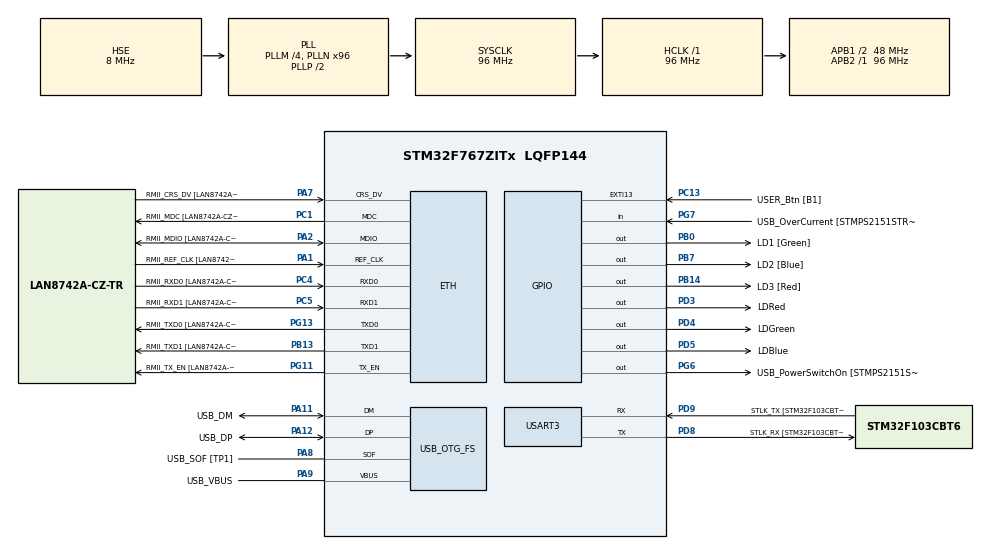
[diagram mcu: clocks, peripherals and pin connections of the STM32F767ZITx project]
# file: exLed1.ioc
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ETH.MediaInterface=ETH_MEDIA_INTERFACE_RMII
ETH.PHY_Name=LAN8742A_PHY_ADDRESS
ETH.PHY_Value=0
ETH.PhyAddress=0
Mcu.Family=STM32F7
Mcu.Name=STM32F767ZITx
Mcu.Package=LQFP144
NVIC.PriorityGroup=NVIC_PRIORITYGROUP_4
NVIC.USART3_IRQn=true\:0\:0\:false\:false\:true\:true\:true
PA1.GPIO_Label=RMII_REF_CLK [LAN8742A-CZ-TR_REFCLK0]
PA1.Mode=RMII
PA1.Signal=ETH_REF_CLK
PA10.GPIO_Label=USB_ID
PA10.Signal=USB_OTG_FS_ID
PA11.GPIO_Label=USB_DM
PA11.Mode=Device_Only
PA11.Signal=USB_OTG_FS_DM
PA12.GPIO_Label=USB_DP
PA12.Mode=Device_Only
PA12.Signal=USB_OTG_FS_DP
PA13.GPIO_Label=TMS
PA13.Mode=Serial_Wire
PA13.Signal=SYS_JTMS-SWDIO
PA14.GPIO_Label=TCK
PA14.Mode=Serial_Wire
PA14.Signal=SYS_JTCK-SWCLK
PA2.GPIO_Label=RMII_MDIO [LAN8742A-CZ-TR_MDIO]
PA2.Mode=RMII
PA2.Signal=ETH_MDIO
PA7.GPIO_Label=RMII_CRS_DV [LAN8742A-CZ-TR_CRS_DV]
PA7.Mode=RMII
PA7.Signal=ETH_CRS_DV
PA8.GPIO_Label=USB_SOF [TP1]
PA8.Mode=Activate_SOF_FS
PA8.Signal=USB_OTG_FS_SOF
PA9.GPIO_Label=USB_VBUS
PA9.Mode=Activate_VBUS
PA9.Signal=USB_OTG_FS_VBUS
PB0.GPIO_Label=LD1 [Green]
PB0.Signal=GPIO_Output
PB13.GPIO_Label=RMII_TXD1 [LAN8742A-CZ-TR_TXD1]
PB13.Mode=RMII
PB13.Signal=ETH_TXD1
PB14.GPIO_Label=LD3 [Red]
PB14.Signal=GPIO_Output
PB3.GPIO_Label=SWO
PB3.Signal=SYS_JTDO-SWO
PB7.GPIO_Label=LD2 [Blue]
PB7.Signal=GPIO_Output
PC1.GPIO_Label=RMII_MDC [LAN8742A-CZ-TR_MDC]
PC1.Mode=RMII
PC1.Signal=ETH_MDC
PC13.GPIO_Label=USER_Btn [B1]
PC13.Signal=GPXTI13
PC14/OSC32_IN.Mode=LSE-External-Oscillator
PC14/OSC32_IN.Signal=RCC_OSC32_IN
PC15/OSC32_OUT.Mode=LSE-External-Oscillator
PC15/OSC32_OUT.Signal=RCC_OSC32_OUT
PC4.GPIO_Label=RMII_RXD0 [LAN8742A-CZ-TR_RXD0]
PC4.Mode=RMII
PC4.Signal=ETH_RXD0
PC5.GPIO_Label=RMII_RXD1 [LAN8742A-CZ-TR_RXD1]
PC5.Mode=RMII
PC5.Signal=ETH_RXD1
PD3.GPIO_Label=LDRed
PD3.Signal=GPIO_Output
PD4.GPIO_Label=LDGreen
PD4.Signal=GPIO_Output
PD5.GPIO_Label=LDBlue
PD5.Signal=GPIO_Output
PD8.GPIO_Label=STLK_RX [STM32F103CBT6_PA3]
PD8.Mode=Asynchronous
PD8.Signal=USART3_TX
PD9.GPIO_Label=STLK_TX [STM32F103CBT6_PA2]
PD9.Mode=Asynchronous
PD9.Signal=USART3_RX
PG11.GPIO_Label=RMII_TX_EN [LAN8742A-CZ-TR_TXEN]
PG11.Mode=RMII
PG11.Signal=ETH_TX_EN
PG13.GPIO_Label=RMII_TXD0 [LAN8742A-CZ-TR_TXD0]
PG13.Mode=RMII
PG13.Signal=ETH_TXD0
PG6.GPIO_Label=USB_PowerSwitchOn [STMPS2151STR_EN]
PG6.Signal=GPIO_Output
PG7.GPIO_Label=USB_OverCurrent [STMPS2151STR_FAULT]
PG7.Signal=GPIO_Input
PH0/OSC_IN.GPIO_Label=MCO [STM32F103CBT6_PA8]
PH0/OSC_IN.Mode=HSE-External-Clock-Source
PH0/OSC_IN.Signal=RCC_OSC_IN
PH1/OSC_OUT.Mode=HSE-External-Clock-Source
PH1/OSC_OUT.Signal=RCC_OSC_OUT
ProjectManager.HeapSize=0x200
ProjectManager.StackSize=0x400
ProjectManager.TargetToolchain=STM32CubeIDE
RCC.48MHZClocksFreq_Value=24000000
RCC.AHBFreq_Value=96000000
RCC.APB1CLKDivider=RCC_HCLK_DIV2
RCC.APB1Freq_Value=48000000
RCC.APB1TimFreq_Value=96000000
RCC.APB2Freq_Value=96000000
RCC.APB2TimFreq_Value=96000000
RCC.CortexFreq_Value=96000000
RCC.HCLKFreq_Value=96000000
RCC.HSE_VALUE=8000000
RCC.HSI_VALUE=16000000
RCC.PLLM=4
RCC.PLLMUL=RCC_PLL_MUL9
RCC.PLLN=96
RCC.PLLQ=4
RCC.PRESCALERUSB=RCC_USBCLKSOURCE_PLL_DIV1_5
RCC.SYSCLKFreq_VALUE=96000000
RCC.SYSCLKSource=RCC_SYSCLKSOURCE_PLLCLK
RCC.SYSCLKSourceVirtual=RCC_SYSCLKSOURCE_PLLCLK
RCC.USBFreq_Value=48000000
RCC.VCOOutputFreq_Value=192000000
USART3.VirtualMode-Asynchronous=VM_ASYNC
USB_OTG_FS.VirtualMode=Device_Only
board=NUCLEO-F767ZI

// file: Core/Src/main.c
/* USER CODE BEGIN Header */
/**
  ******************************************************************************
  * @file           : main.c
  * @brief          : Main program body
  ******************************************************************************
  * @attention
  *
  * <h2><center>&copy; Copyright (c) 2021 STMicroelectronics.
  * All rights reserved.</center></h2>
  *
  * This software component is licensed by ST under BSD 3-Clause license,
  * the "License"; You may not use this file except in compliance with the
  * License. You may obtain a copy of the License at:
  *                        opensource.org/licenses/BSD-3-Clause
  *
  ******************************************************************************
  */
/* USER CODE END Header */
#include "main.h"

/* USER CODE BEGIN Includes */
#include "appMain.h"

#include "pif_log.h"

/* USER CODE END Includes */

UART_HandleTypeDef huart3;

PCD_HandleTypeDef hpcd_USB_OTG_FS;

/* USER CODE BEGIN PV */
static uint16_t s_usLogTx;

/* USER CODE END PV */

void SystemClock_Config(void);
static void MX_GPIO_Init(void);
static void MX_USART3_UART_Init(void);
static void MX_USB_OTG_FS_PCD_Init(void);

/* USER CODE BEGIN 0 */
BOOL actLogStartTransfer()
{
	uint8_t *pucData, ucState;

	s_usLogTx = 0;
	ucState = pifComm_StartSendDatas(g_pstCommLog, &pucData, &s_usLogTx);
	if (ucState & PIF_COMM_SEND_DATA_STATE_DATA) {
		HAL_UART_Transmit_IT(&huart3, pucData, s_usLogTx);
		return TRUE;
	}
	return FALSE;
}

void HAL_UART_TxCpltCallback(UART_HandleTypeDef *huart)
{
	uint8_t *pucData, ucState;

  if (huart->Instance == USART3) {
		ucState = pifComm_EndSendDatas(g_pstCommLog, s_usLogTx);
		if (ucState & PIF_COMM_SEND_DATA_STATE_EMPTY) {
			pifComm_FinishTransfer(g_pstCommLog);
		}
		else {
			s_usLogTx = 0;
			ucState = pifComm_StartSendDatas(g_pstCommLog, &pucData, &s_usLogTx);
			if (ucState & PIF_COMM_SEND_DATA_STATE_DATA) {
				HAL_UART_Transmit_IT(huart, pucData, s_usLogTx);
			}
		}
	}
}

void actLedLState(PifId usPifId, uint32_t unState)
{
	(void)usPifId;

	HAL_GPIO_WritePin(GPIOB, LD2_Pin, unState & 1);
}

void actLedRGBState(PifId usPifId, uint32_t unState)
{
  (void)usPifId;

  HAL_GPIO_WritePin(GPIOD, LDRed_Pin, unState & 1);
  HAL_GPIO_WritePin(GPIOD, LDGreen_Pin, (unState >> 1) & 1);
  HAL_GPIO_WritePin(GPIOD, LDBlue_Pin, (unState >> 2) & 1);
  pifLog_Printf(LT_INFO, "RGB:%u S:%xh", __LINE__, unState);
}

/* USER CODE END 0 */

int main(void)
{

  /* MCU Configuration--------------------------------------------------------*/

  /* Reset of all peripherals, Initializes the Flash interface and the Systick. */
  HAL_Init();

  /* Configure the system clock */
  SystemClock_Config();

  /* Initialize all configured peripherals */
  MX_GPIO_Init();
  MX_USART3_UART_Init();
  MX_USB_OTG_FS_PCD_Init();
  /* USER CODE BEGIN 2 */
  appSetup();

  /* USER CODE END 2 */

  /* Infinite loop */
  /* USER CODE BEGIN WHILE */
  while (1)
  {
    pif_Loop();

    pifTaskManager_Loop();
    /* USER CODE END WHILE */

  }
}

void SystemClock_Config(void)
{
  RCC_OscInitTypeDef RCC_OscInitStruct = {0};
  RCC_ClkInitTypeDef RCC_ClkInitStruct = {0};
  RCC_PeriphCLKInitTypeDef PeriphClkInitStruct = {0};

  /** Configure LSE Drive Capability
  */
  HAL_PWR_EnableBkUpAccess();
  /** Configure the main internal regulator output voltage
  */
  __HAL_RCC_PWR_CLK_ENABLE();
  __HAL_PWR_VOLTAGESCALING_CONFIG(PWR_REGULATOR_VOLTAGE_SCALE3);
  /** Initializes the RCC Oscillators according to the specified parameters
  * in the RCC_OscInitTypeDef structure.
  */
  RCC_OscInitStruct.OscillatorType = RCC_OSCILLATORTYPE_HSE;
  RCC_OscInitStruct.HSEState = RCC_HSE_BYPASS;
  RCC_OscInitStruct.PLL.PLLState = RCC_PLL_ON;
  RCC_OscInitStruct.PLL.PLLSource = RCC_PLLSOURCE_HSE;
  RCC_OscInitStruct.PLL.PLLM = 4;
  RCC_OscInitStruct.PLL.PLLN = 96;
  RCC_OscInitStruct.PLL.PLLP = RCC_PLLP_DIV2;
  RCC_OscInitStruct.PLL.PLLQ = 4;
  RCC_OscInitStruct.PLL.PLLR = 2;
  if (HAL_RCC_OscConfig(&RCC_OscInitStruct) != HAL_OK)
  {
    Error_Handler();
  }
  /** Activate the Over-Drive mode
  */
  if (HAL_PWREx_EnableOverDrive() != HAL_OK)
  {
    Error_Handler();
  }
  /** Initializes the CPU, AHB and APB buses clocks
  */
  RCC_ClkInitStruct.ClockType = RCC_CLOCKTYPE_HCLK|RCC_CLOCKTYPE_SYSCLK
                              |RCC_CLOCKTYPE_PCLK1|RCC_CLOCKTYPE_PCLK2;
  RCC_ClkInitStruct.SYSCLKSource = RCC_SYSCLKSOURCE_PLLCLK;
  RCC_ClkInitStruct.AHBCLKDivider = RCC_SYSCLK_DIV1;
  RCC_ClkInitStruct.APB1CLKDivider = RCC_HCLK_DIV2;
  RCC_ClkInitStruct.APB2CLKDivider = RCC_HCLK_DIV1;

  if (HAL_RCC_ClockConfig(&RCC_ClkInitStruct, FLASH_LATENCY_3) != HAL_OK)
  {
    Error_Handler();
  }
  PeriphClkInitStruct.PeriphClockSelection = RCC_PERIPHCLK_USART3|RCC_PERIPHCLK_CLK48;
  PeriphClkInitStruct.Usart3ClockSelection = RCC_USART3CLKSOURCE_PCLK1;
  PeriphClkInitStruct.Clk48ClockSelection = RCC_CLK48SOURCE_PLL;
  if (HAL_RCCEx_PeriphCLKConfig(&PeriphClkInitStruct) != HAL_OK)
  {
    Error_Handler();
  }
}

static void MX_USART3_UART_Init(void)
{

  huart3.Instance = USART3;
  huart3.Init.BaudRate = 115200;
  huart3.Init.WordLength = UART_WORDLENGTH_8B;
  huart3.Init.StopBits = UART_STOPBITS_1;
  huart3.Init.Parity = UART_PARITY_NONE;
  huart3.Init.Mode = UART_MODE_TX_RX;
  huart3.Init.HwFlowCtl = UART_HWCONTROL_NONE;
  huart3.Init.OverSampling = UART_OVERSAMPLING_16;
  huart3.Init.OneBitSampling = UART_ONE_BIT_SAMPLE_DISABLE;
  huart3.AdvancedInit.AdvFeatureInit = UART_ADVFEATURE_NO_INIT;
  if (HAL_UART_Init(&huart3) != HAL_OK)
  {
    Error_Handler();
  }

}

static void MX_USB_OTG_FS_PCD_Init(void)
{

  hpcd_USB_OTG_FS.Instance = USB_OTG_FS;
  hpcd_USB_OTG_FS.Init.dev_endpoints = 6;
  hpcd_USB_OTG_FS.Init.speed = PCD_SPEED_FULL;
  hpcd_USB_OTG_FS.Init.dma_enable = DISABLE;
  hpcd_USB_OTG_FS.Init.phy_itface = PCD_PHY_EMBEDDED;
  hpcd_USB_OTG_FS.Init.Sof_enable = ENABLE;
  hpcd_USB_OTG_FS.Init.low_power_enable = DISABLE;
  hpcd_USB_OTG_FS.Init.lpm_enable = DISABLE;
  hpcd_USB_OTG_FS.Init.vbus_sensing_enable = ENABLE;
  hpcd_USB_OTG_FS.Init.use_dedicated_ep1 = DISABLE;
  if (HAL_PCD_Init(&hpcd_USB_OTG_FS) != HAL_OK)
  {
    Error_Handler();
  }

}

static void MX_GPIO_Init(void)
{
  GPIO_InitTypeDef GPIO_InitStruct = {0};

  /* GPIO Ports Clock Enable */
  __HAL_RCC_GPIOC_CLK_ENABLE();
  __HAL_RCC_GPIOH_CLK_ENABLE();
  __HAL_RCC_GPIOA_CLK_ENABLE();
  __HAL_RCC_GPIOB_CLK_ENABLE();
  __HAL_RCC_GPIOD_CLK_ENABLE();
  __HAL_RCC_GPIOG_CLK_ENABLE();

  /*Configure GPIO pin Output Level */
  HAL_GPIO_WritePin(GPIOB, LD1_Pin|LD3_Pin|LD2_Pin, GPIO_PIN_RESET);

  /*Configure GPIO pin Output Level */
  HAL_GPIO_WritePin(USB_PowerSwitchOn_GPIO_Port, USB_PowerSwitchOn_Pin, GPIO_PIN_RESET);

  /*Configure GPIO pin Output Level */
  HAL_GPIO_WritePin(GPIOD, LDRed_Pin|LDGreen_Pin|LDBlue_Pin, GPIO_PIN_RESET);

  /*Configure GPIO pin : USER_Btn_Pin */
  GPIO_InitStruct.Pin = USER_Btn_Pin;
  GPIO_InitStruct.Mode = GPIO_MODE_IT_RISING;
  GPIO_InitStruct.Pull = GPIO_NOPULL;
  HAL_GPIO_Init(USER_Btn_GPIO_Port, &GPIO_InitStruct);

  /*Configure GPIO pins : RMII_MDC_Pin RMII_RXD0_Pin RMII_RXD1_Pin */
  GPIO_InitStruct.Pin = RMII_MDC_Pin|RMII_RXD0_Pin|RMII_RXD1_Pin;
  GPIO_InitStruct.Mode = GPIO_MODE_AF_PP;
  GPIO_InitStruct.Pull = GPIO_NOPULL;
  GPIO_InitStruct.Speed = GPIO_SPEED_FREQ_VERY_HIGH;
  GPIO_InitStruct.Alternate = GPIO_AF11_ETH;
  HAL_GPIO_Init(GPIOC, &GPIO_InitStruct);

  /*Configure GPIO pins : RMII_REF_CLK_Pin RMII_MDIO_Pin RMII_CRS_DV_Pin */
  GPIO_InitStruct.Pin = RMII_REF_CLK_Pin|RMII_MDIO_Pin|RMII_CRS_DV_Pin;
  GPIO_InitStruct.Mode = GPIO_MODE_AF_PP;
  GPIO_InitStruct.Pull = GPIO_NOPULL;
  GPIO_InitStruct.Speed = GPIO_SPEED_FREQ_VERY_HIGH;
  GPIO_InitStruct.Alternate = GPIO_AF11_ETH;
  HAL_GPIO_Init(GPIOA, &GPIO_InitStruct);

  /*Configure GPIO pins : LD1_Pin LD3_Pin LD2_Pin */
  GPIO_InitStruct.Pin = LD1_Pin|LD3_Pin|LD2_Pin;
  GPIO_InitStruct.Mode = GPIO_MODE_OUTPUT_PP;
  GPIO_InitStruct.Pull = GPIO_NOPULL;
  GPIO_InitStruct.Speed = GPIO_SPEED_FREQ_LOW;
  HAL_GPIO_Init(GPIOB, &GPIO_InitStruct);

  /*Configure GPIO pin : RMII_TXD1_Pin */
  GPIO_InitStruct.Pin = RMII_TXD1_Pin;
  GPIO_InitStruct.Mode = GPIO_MODE_AF_PP;
  GPIO_InitStruct.Pull = GPIO_NOPULL;
  GPIO_InitStruct.Speed = GPIO_SPEED_FREQ_VERY_HIGH;
  GPIO_InitStruct.Alternate = GPIO_AF11_ETH;
  HAL_GPIO_Init(RMII_TXD1_GPIO_Port, &GPIO_InitStruct);

  /*Configure GPIO pin : USB_PowerSwitchOn_Pin */
  GPIO_InitStruct.Pin = USB_PowerSwitchOn_Pin;
  GPIO_InitStruct.Mode = GPIO_MODE_OUTPUT_PP;
  GPIO_InitStruct.Pull = GPIO_NOPULL;
  GPIO_InitStruct.Speed = GPIO_SPEED_FREQ_LOW;
  HAL_GPIO_Init(USB_PowerSwitchOn_GPIO_Port, &GPIO_InitStruct);

  /*Configure GPIO pin : USB_OverCurrent_Pin */
  GPIO_InitStruct.Pin = USB_OverCurrent_Pin;
  GPIO_InitStruct.Mode = GPIO_MODE_INPUT;
  GPIO_InitStruct.Pull = GPIO_NOPULL;
  HAL_GPIO_Init(USB_OverCurrent_GPIO_Port, &GPIO_InitStruct);

  /*Configure GPIO pins : LDRed_Pin LDGreen_Pin LDBlue_Pin */
  GPIO_InitStruct.Pin = LDRed_Pin|LDGreen_Pin|LDBlue_Pin;
  GPIO_InitStruct.Mode = GPIO_MODE_OUTPUT_PP;
  GPIO_InitStruct.Pull = GPIO_NOPULL;
  GPIO_InitStruct.Speed = GPIO_SPEED_FREQ_LOW;
  HAL_GPIO_Init(GPIOD, &GPIO_InitStruct);

  /*Configure GPIO pins : RMII_TX_EN_Pin RMII_TXD0_Pin */
  GPIO_InitStruct.Pin = RMII_TX_EN_Pin|RMII_TXD0_Pin;
  GPIO_InitStruct.Mode = GPIO_MODE_AF_PP;
  GPIO_InitStruct.Pull = GPIO_NOPULL;
  GPIO_InitStruct.Speed = GPIO_SPEED_FREQ_VERY_HIGH;
  GPIO_InitStruct.Alternate = GPIO_AF11_ETH;
  HAL_GPIO_Init(GPIOG, &GPIO_InitStruct);

}

void Error_Handler(void)
{
  __disable_irq();
  while (1)
  {
  }
}

/************************ (C) COPYRIGHT STMicroelectronics *****END OF FILE****/
